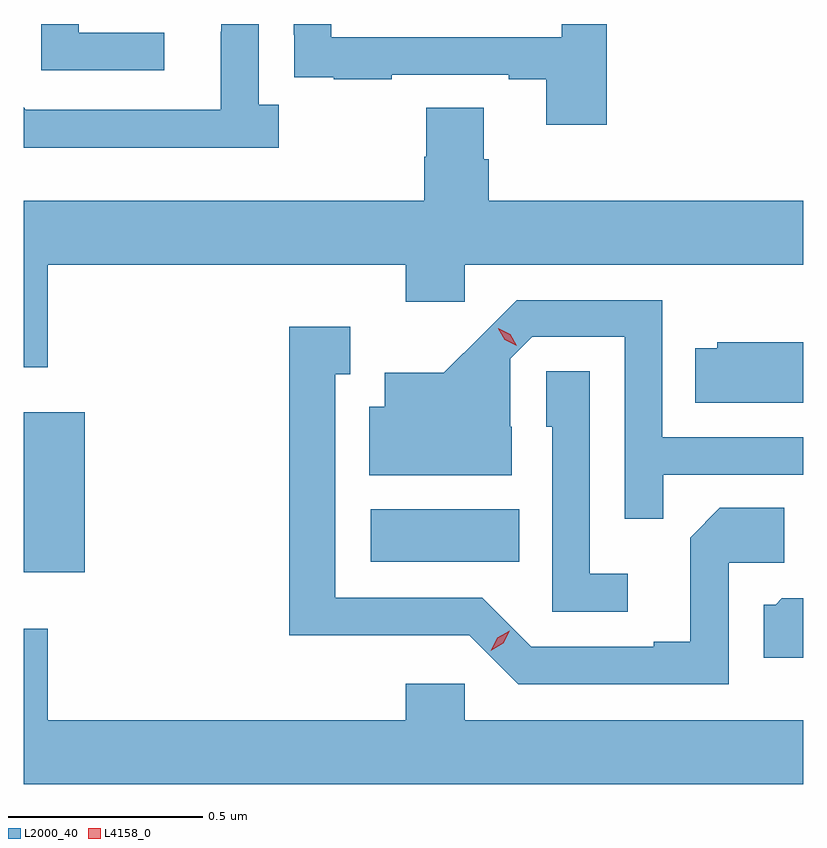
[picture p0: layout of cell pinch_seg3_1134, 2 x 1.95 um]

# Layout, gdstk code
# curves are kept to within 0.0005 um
import gdstk
lib = gdstk.Library(unit=1e-6, precision=1e-09)
def R(c, l, rs):  # rectangles x0, y0, x1, y1
    for r in rs: c.add(gdstk.rectangle(r[:2], r[2:], *l))
def P(c, l, *ps):  # polygons
    for p in ps: c.add(gdstk.Polygon(p, *l))
L2000_40 = (2000, 40)
L4158_0 = (4158, 0)

pinch_seg3_1134 = lib.new_cell('pinch_seg3_1134')
R(pinch_seg3_1134, L2000_40, [(347.163,713.447,347.32,713.857), (348.054,713.474,348.434,713.608)])
P(pinch_seg3_1134, L2000_40, [(348.659,714.853),(348.543,714.853),(348.543,714.819),(347.952,714.819),(347.952,714.853),(347.856,714.853),(347.856,714.826),(347.857,714.826),(347.857,714.717),(347.959,714.717),(347.959,714.711),(348.107,714.711),(348.107,714.723),(348.407,714.723),(348.407,714.711),(348.503,714.711),(348.503,714.594),(348.659,714.594)],
  [(347.524,714.831),(347.304,714.831),(347.304,714.853),(347.208,714.853),(347.208,714.735),(347.524,714.735)],
  [(347.818,714.646),(347.766,714.646),(347.766,714.853),(347.67,714.853),(347.67,714.833),(347.669,714.833),(347.669,714.633),(347.169,714.633),(347.163,714.639),(347.163,714.536),(347.818,714.536)],
  [(347.225,714.236),(348.143,714.236),(348.143,714.141),(348.294,714.141),(348.294,714.236),(349.163,714.236),(349.163,714.4),(348.356,714.4),(348.356,714.506),(348.343,714.506),(348.343,714.638),(348.196,714.638),(348.196,714.513),(348.191,714.513),(348.191,714.4),(347.163,714.4),(347.163,713.973),(347.225,713.973)],
  [(348.803,713.697),(349.163,713.697),(349.163,713.793),(348.801,713.793),(348.801,714.144),(348.428,714.144),(348.241,713.959),(348.089,713.959),(348.089,713.872),(348.05,713.872),(348.05,713.696),(348.415,713.696),(348.415,713.82),(348.411,713.82),(348.411,713.994),(348.468,714.051),(348.705,714.051),(348.705,713.584),(348.803,713.584)],
  [(348.972,713.472),(349.114,713.472),(349.114,713.612),(348.949,713.612),(348.873,713.536),(348.873,713.269),(348.779,713.269),(348.779,713.256),(348.465,713.256),(348.339,713.382),(347.962,713.382),(347.962,713.955),(348.001,713.955),(348.001,714.076),(347.844,714.076),(347.844,713.285),(348.084,713.285),(348.084,713.286),(348.306,713.286),(348.432,713.16),(348.972,713.16)],
  [(349.163,714.037),(348.942,714.037),(348.942,714.022),(348.886,714.022),(348.886,713.882),(349.163,713.882)],
  [(348.712,713.443),(348.615,713.443),(348.615,713.963),(348.504,713.963),(348.504,713.82),(348.519,713.82),(348.519,713.346),(348.712,713.346)],
  [(349.163,713.38),(349.108,713.38),(349.092,713.364),(349.061,713.364),(349.061,713.228),(349.163,713.228)],
  [(349.163,713.068),(348.294,713.068),(348.294,713.161),(348.143,713.161),(348.143,713.068),(347.225,713.068),(347.225,713.302),(347.163,713.302),(347.163,712.904),(349.163,712.904)])
P(pinch_seg3_1134, L4158_0, [(348.428,714.028),(348.397,714.043),(348.38,714.072),(348.38,714.073),(348.38,714.073),(348.411,714.057),(348.428,714.028),(348.428,714.028)],
  [(348.361,713.246),(348.361,713.246),(348.378,713.279),(348.41,713.297),(348.41,713.297),(348.41,713.297),(348.393,713.265),(348.361,713.246)])

lib.write_gds('pinch_seg3_1134.gds')
